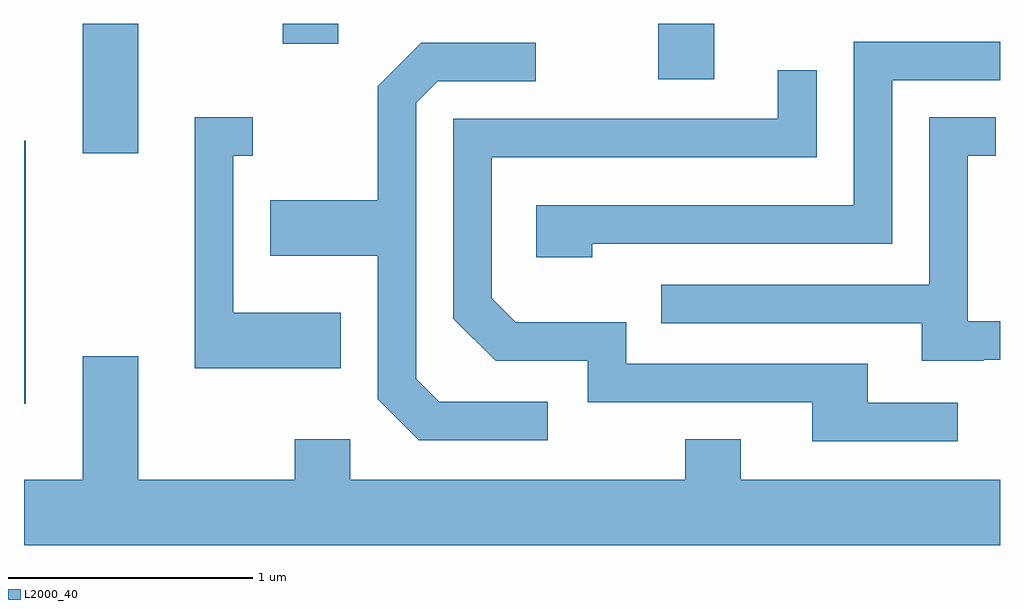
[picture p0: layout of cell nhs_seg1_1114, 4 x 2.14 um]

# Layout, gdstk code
import gdstk
lib = gdstk.Library(unit=1e-6, precision=1e-09)
def R(c, l, rs):  # rectangles x0, y0, x1, y1
    for r in rs: c.add(gdstk.rectangle(r[:2], r[2:], *l))
def P(c, l, *ps):  # polygons
    for p in ps: c.add(gdstk.Polygon(p, *l))
L2000_40 = (2000, 40)

nhs_seg1_1114 = lib.new_cell('nhs_seg1_1114')
R(nhs_seg1_1114, L2000_40, [(219.611,900.156,219.619,901.234), (219.851,901.181,220.079,901.712), (222.211,901.486,222.439,901.712), (220.671,901.631,220.899,901.712)])
P(nhs_seg1_1114, L2000_40, [(221.939,900.811),(223.169,900.811),(223.169,901.481),(223.611,901.481),(223.611,901.639),(223.011,901.639),(223.011,900.969),(221.711,900.969),(221.711,900.756),(221.939,900.756)],
  [(221.758,900.164),(221.312,900.164),(221.219,900.257),(221.219,901.389),(221.307,901.476),(221.708,901.476),(221.708,901.634),(221.239,901.634),(221.061,901.457),(221.061,900.989),(220.621,900.989),(220.621,900.761),(221.061,900.761),(221.061,900.174),(221.229,900.006),(221.758,900.006)],
  [(223.438,900.159),(223.069,900.159),(223.069,900.319),(222.079,900.319),(222.079,900.489),(221.627,900.489),(221.529,900.587),(221.529,901.166),(222.859,901.166),(222.859,901.523),(222.701,901.523),(222.701,901.324),(221.371,901.324),(221.371,900.504),(221.544,900.331),(221.921,900.331),(221.921,900.161),(222.841,900.161),(222.841,900.001),(223.438,900.001)],
  [(220.909,900.529),(220.469,900.529),(220.469,901.171),(220.548,901.171),(220.548,901.329),(220.311,901.329),(220.311,900.301),(220.909,900.301)],
  [(223.545,900.336),(223.611,900.336),(223.611,900.494),(223.479,900.494),(223.479,901.171),(223.593,901.171),(223.593,901.329),(223.321,901.329),(223.321,900.644),(222.223,900.644),(222.223,900.486),(223.291,900.486),(223.291,900.331),(223.545,900.331)],
  [(223.611,899.844),(222.549,899.844),(222.549,900.009),(222.321,900.009),(222.321,899.844),(220.949,899.844),(220.949,900.009),(220.721,900.009),(220.721,899.844),(220.079,899.844),(220.079,900.349),(219.851,900.349),(219.851,899.844),(219.611,899.844),(219.611,899.576),(223.611,899.576)])

lib.write_gds('nhs_seg1_1114.gds')
